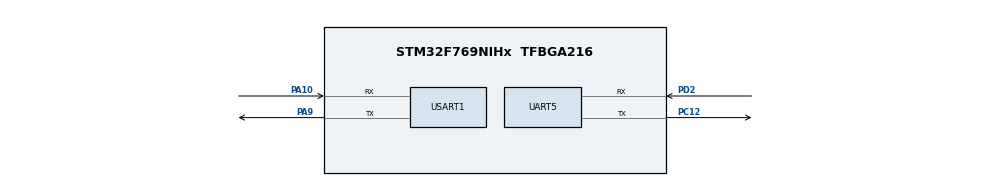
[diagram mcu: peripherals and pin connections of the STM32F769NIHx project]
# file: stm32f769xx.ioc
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CORTEX_M7.CPU_DCache=Enabled
CORTEX_M7.CPU_ICache=Enabled
CORTEX_M7.PREFETCH_ENABLE=1
Dma.Request0=USART1_TX
Dma.Request1=USART1_RX
Dma.Request2=UART5_TX
Dma.Request3=UART5_RX
Dma.UART5_RX.3.Direction=DMA_PERIPH_TO_MEMORY
Dma.UART5_RX.3.FIFOMode=DMA_FIFOMODE_DISABLE
Dma.UART5_RX.3.Instance=DMA1_Stream0
Dma.UART5_RX.3.MemDataAlignment=DMA_MDATAALIGN_BYTE
Dma.UART5_RX.3.MemInc=DMA_MINC_ENABLE
Dma.UART5_RX.3.Mode=DMA_CIRCULAR
Dma.UART5_RX.3.PeriphDataAlignment=DMA_PDATAALIGN_BYTE
Dma.UART5_RX.3.PeriphInc=DMA_PINC_DISABLE
Dma.UART5_RX.3.Priority=DMA_PRIORITY_VERY_HIGH
Dma.UART5_TX.2.Direction=DMA_MEMORY_TO_PERIPH
Dma.UART5_TX.2.FIFOMode=DMA_FIFOMODE_DISABLE
Dma.UART5_TX.2.Instance=DMA1_Stream7
Dma.UART5_TX.2.MemDataAlignment=DMA_MDATAALIGN_BYTE
Dma.UART5_TX.2.MemInc=DMA_MINC_ENABLE
Dma.UART5_TX.2.Mode=DMA_NORMAL
Dma.UART5_TX.2.PeriphDataAlignment=DMA_PDATAALIGN_BYTE
Dma.UART5_TX.2.PeriphInc=DMA_PINC_DISABLE
Dma.UART5_TX.2.Priority=DMA_PRIORITY_VERY_HIGH
Dma.USART1_RX.1.Direction=DMA_PERIPH_TO_MEMORY
Dma.USART1_RX.1.FIFOMode=DMA_FIFOMODE_DISABLE
Dma.USART1_RX.1.Instance=DMA2_Stream2
Dma.USART1_RX.1.MemDataAlignment=DMA_MDATAALIGN_BYTE
Dma.USART1_RX.1.MemInc=DMA_MINC_ENABLE
Dma.USART1_RX.1.Mode=DMA_CIRCULAR
Dma.USART1_RX.1.PeriphDataAlignment=DMA_PDATAALIGN_BYTE
Dma.USART1_RX.1.PeriphInc=DMA_PINC_DISABLE
Dma.USART1_RX.1.Priority=DMA_PRIORITY_VERY_HIGH
Dma.USART1_TX.0.Direction=DMA_MEMORY_TO_PERIPH
Dma.USART1_TX.0.FIFOMode=DMA_FIFOMODE_DISABLE
Dma.USART1_TX.0.Instance=DMA2_Stream7
Dma.USART1_TX.0.MemDataAlignment=DMA_MDATAALIGN_BYTE
Dma.USART1_TX.0.MemInc=DMA_MINC_ENABLE
Dma.USART1_TX.0.Mode=DMA_NORMAL
Dma.USART1_TX.0.PeriphDataAlignment=DMA_PDATAALIGN_BYTE
Dma.USART1_TX.0.PeriphInc=DMA_PINC_DISABLE
Dma.USART1_TX.0.Priority=DMA_PRIORITY_VERY_HIGH
FREERTOS.Tasks01=KrnlTaskName,24,1024,KrnlTask,Default,NULL,Dynamic,NULL,NULL;UserTaskName,24,1024,UserTask,Default,NULL,Dynamic,NULL,NULL;UartTaskName,24,256,UartTask,Default,NULL,Dynamic,NULL,NULL
FREERTOS.configMAX_TASK_NAME_LEN=32
FREERTOS.configMINIMAL_STACK_SIZE=256
FREERTOS.configTOTAL_HEAP_SIZE=102400
Mcu.Family=STM32F7
Mcu.Name=STM32F769NIHx
Mcu.Package=TFBGA216
NVIC.DMA1_Stream0_IRQn=true\:5\:0\:false\:false\:true\:true\:false\:true
NVIC.DMA1_Stream7_IRQn=true\:5\:0\:false\:false\:true\:true\:false\:true
NVIC.DMA2_Stream2_IRQn=true\:5\:0\:false\:false\:true\:true\:false\:true
NVIC.DMA2_Stream7_IRQn=true\:5\:0\:false\:false\:true\:true\:false\:true
NVIC.HASH_RNG_IRQn=true\:5\:0\:false\:false\:true\:true\:true\:true
NVIC.PriorityGroup=NVIC_PRIORITYGROUP_4
NVIC.TIM2_IRQn=true\:0\:0\:false\:false\:true\:false\:false\:true
NVIC.TimeBase=TIM2_IRQn
NVIC.TimeBaseIP=TIM2
NVIC.UART5_IRQn=true\:5\:0\:false\:false\:true\:true\:true\:true
NVIC.USART1_IRQn=true\:5\:0\:false\:false\:true\:true\:true\:true
PA10.Mode=Asynchronous
PA10.Signal=USART1_RX
PA9.Mode=Asynchronous
PA9.Signal=USART1_TX
PC12.Mode=Asynchronous
PC12.Signal=UART5_TX
PD2.Mode=Asynchronous
PD2.Signal=UART5_RX
ProjectManager.HeapSize=0x200
ProjectManager.StackSize=0x400
ProjectManager.TargetToolchain=SW4STM32
RCC.HSE_VALUE=25000000
RCC.HSI_VALUE=16000000
RCC.LSE_VALUE=32768
RCC.PLLM=8
RCC.PLLN=96
RCC.PLLQ=4
RCC.USBFreq_Value=48000000
RCC.VCOOutputFreq_Value=192000000
USART1.VirtualMode-Asynchronous=VM_ASYNC
VP_FREERTOS_VS_CMSIS_V2.Mode=CMSIS_V2
VP_RNG_VS_RNG.Mode=RNG_Activate
VP_SYS_VS_tim2.Mode=TIM2
board=custom

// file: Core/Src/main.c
/* USER CODE BEGIN Header */
/**
  ******************************************************************************
  * @file           : main.c
  * @brief          : Main program body
  ******************************************************************************
  * @attention
  *
  * <h2><center>&copy; Copyright (c) 2021 STMicroelectronics.
  * All rights reserved.</center></h2>
  *
  * This software component is licensed by ST under Ultimate Liberty license
  * SLA0044, the "License"; You may not use this file except in compliance with
  * the License. You may obtain a copy of the License at:
  *                             www.st.com/SLA0044
  *
  ******************************************************************************
  */
/* USER CODE END Header */
#include "main.h"
#include "cmsis_os.h"
#include "dma.h"
#include "rng.h"
#include "usart.h"
#include "gpio.h"

/* USER CODE BEGIN Includes */

#include "uart_assert.h"
#include "uart_printf.h"

/* USER CODE END Includes */

/* USER CODE BEGIN PM */

#define UART_BUFFER_SIZE 4096

/* USER CODE END PM */

/* USER CODE BEGIN PV */

static uint8_t Uart5_Buffer[UART_BUFFER_SIZE];

UART_RingBuf Uart5_RingBuf = {
  .huart = &huart5,
  .buffer = Uart5_Buffer,
  .size = UART_BUFFER_SIZE,
  .end = 0,
  .token = 0
};

/* USER CODE END PV */

void SystemClock_Config(void);
void MX_FREERTOS_Init(void);
/* USER CODE BEGIN PFP */

static void UART_RingBufRecv(UART_RingBuf *uart_ringbuf)
{
  assert(HAL_UART_Receive_IT(uart_ringbuf->huart, &uart_ringbuf->token, sizeof(uart_ringbuf->token)) == HAL_OK);
}

/* USER CODE END PFP */

int main(void)
{

  /* Enable I-Cache---------------------------------------------------------*/
  SCB_EnableICache();

  /* Enable D-Cache---------------------------------------------------------*/
  SCB_EnableDCache();

  /* MCU Configuration--------------------------------------------------------*/

  /* Reset of all peripherals, Initializes the Flash interface and the Systick. */
  HAL_Init();

  /* Configure the system clock */
  SystemClock_Config();

  /* Initialize all configured peripherals */
  MX_GPIO_Init();
  MX_DMA_Init();
  MX_RNG_Init();
  MX_USART1_UART_Init();
  MX_UART5_Init();
  /* USER CODE BEGIN 2 */

  UART_RingBufRecv(&Uart5_RingBuf);

  /* USER CODE END 2 */

  /* Init scheduler */
  osKernelInitialize();  /* Call init function for freertos objects (in freertos.c) */
  MX_FREERTOS_Init();
  /* Start scheduler */
  osKernelStart();

  /* We should never get here as control is now taken by the scheduler */
  /* Infinite loop */
  while (1)
  {

  }
}

void SystemClock_Config(void)
{
  RCC_OscInitTypeDef RCC_OscInitStruct = {0};
  RCC_ClkInitTypeDef RCC_ClkInitStruct = {0};
  RCC_PeriphCLKInitTypeDef PeriphClkInitStruct = {0};

  /** Configure the main internal regulator output voltage
  */
  __HAL_RCC_PWR_CLK_ENABLE();
  __HAL_PWR_VOLTAGESCALING_CONFIG(PWR_REGULATOR_VOLTAGE_SCALE3);
  /** Initializes the RCC Oscillators according to the specified parameters
  * in the RCC_OscInitTypeDef structure.
  */
  RCC_OscInitStruct.OscillatorType = RCC_OSCILLATORTYPE_HSI;
  RCC_OscInitStruct.HSIState = RCC_HSI_ON;
  RCC_OscInitStruct.HSICalibrationValue = RCC_HSICALIBRATION_DEFAULT;
  RCC_OscInitStruct.PLL.PLLState = RCC_PLL_ON;
  RCC_OscInitStruct.PLL.PLLSource = RCC_PLLSOURCE_HSI;
  RCC_OscInitStruct.PLL.PLLM = 8;
  RCC_OscInitStruct.PLL.PLLN = 96;
  RCC_OscInitStruct.PLL.PLLP = RCC_PLLP_DIV2;
  RCC_OscInitStruct.PLL.PLLQ = 4;
  if (HAL_RCC_OscConfig(&RCC_OscInitStruct) != HAL_OK)
  {
    Error_Handler();
  }
  /** Initializes the CPU, AHB and APB buses clocks
  */
  RCC_ClkInitStruct.ClockType = RCC_CLOCKTYPE_HCLK|RCC_CLOCKTYPE_SYSCLK
                              |RCC_CLOCKTYPE_PCLK1|RCC_CLOCKTYPE_PCLK2;
  RCC_ClkInitStruct.SYSCLKSource = RCC_SYSCLKSOURCE_HSI;
  RCC_ClkInitStruct.AHBCLKDivider = RCC_SYSCLK_DIV1;
  RCC_ClkInitStruct.APB1CLKDivider = RCC_HCLK_DIV1;
  RCC_ClkInitStruct.APB2CLKDivider = RCC_HCLK_DIV1;

  if (HAL_RCC_ClockConfig(&RCC_ClkInitStruct, FLASH_LATENCY_0) != HAL_OK)
  {
    Error_Handler();
  }
  PeriphClkInitStruct.PeriphClockSelection = RCC_PERIPHCLK_USART1|RCC_PERIPHCLK_UART5
                              |RCC_PERIPHCLK_CLK48;
  PeriphClkInitStruct.Usart1ClockSelection = RCC_USART1CLKSOURCE_PCLK2;
  PeriphClkInitStruct.Uart5ClockSelection = RCC_UART5CLKSOURCE_PCLK1;
  PeriphClkInitStruct.Clk48ClockSelection = RCC_CLK48SOURCE_PLL;
  if (HAL_RCCEx_PeriphCLKConfig(&PeriphClkInitStruct) != HAL_OK)
  {
    Error_Handler();
  }
}

/* USER CODE BEGIN 4 */

void SystemHalt(void)
{
  __disable_irq();
  while (1)
  {
  }
}

uint32_t Random(void)
{
  uint32_t random;
  assert(HAL_RNG_GenerateRandomNumber(&hrng, &random) == HAL_OK);
  return random;
}

void HAL_UART_RxCpltCallback(UART_HandleTypeDef *huart)
{
  UART_RingBuf *uart_ringbuf = NULL;
  if (huart->Instance == UART5)
  {
    uart_ringbuf = &Uart5_RingBuf;
  }
  uart_ringbuf->buffer[uart_ringbuf->end++] = uart_ringbuf->token;
  uart_ringbuf->end %= uart_ringbuf->size;
  UART_RingBufRecv(uart_ringbuf);
}

void HAL_UART_ErrorCallback(UART_HandleTypeDef *huart)
{
}

/* USER CODE END 4 */

 /**
  * @brief  Period elapsed callback in non blocking mode
  * @note   This function is called  when TIM2 interrupt took place, inside
  * HAL_TIM_IRQHandler(). It makes a direct call to HAL_IncTick() to increment
  * a global variable "uwTick" used as application time base.
  * @param  htim : TIM handle
  * @retval None
  */
void HAL_TIM_PeriodElapsedCallback(TIM_HandleTypeDef *htim)
{
  if (htim->Instance == TIM2) {
    HAL_IncTick();
  }
}

void Error_Handler(void)
{
  __disable_irq();
  while (1)
  {
  }
}

/************************ (C) COPYRIGHT STMicroelectronics *****END OF FILE****/

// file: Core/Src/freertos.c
/* USER CODE BEGIN Header */
/**
  ******************************************************************************
  * File Name          : freertos.c
  * Description        : Code for freertos applications
  ******************************************************************************
  * @attention
  *
  * <h2><center>&copy; Copyright (c) 2021 STMicroelectronics.
  * All rights reserved.</center></h2>
  *
  * This software component is licensed by ST under Ultimate Liberty license
  * SLA0044, the "License"; You may not use this file except in compliance with
  * the License. You may obtain a copy of the License at:
  *                             www.st.com/SLA0044
  *
  ******************************************************************************
  */
/* USER CODE END Header */

#include "FreeRTOS.h"
#include "task.h"
#include "main.h"
#include "cmsis_os.h"

/* USER CODE BEGIN Includes */

#include "uart_printf.h"
#include "uart_assert.h"
#include "lwesp/lwesp.h"

/* USER CODE END Includes */

/* USER CODE BEGIN Variables */

static const osSemaphoreAttr_t InitSemaphoreAttributes = {
  .name = "InitSemaphoreName"
};

static osSemaphoreId_t InitSemaphore;

extern UART_RingBuf Uart5_RingBuf;

/* USER CODE END Variables */
/* Definitions for KrnlTaskName */
osThreadId_t KrnlTaskNameHandle;
const osThreadAttr_t KrnlTaskName_attributes = {
  .name = "KrnlTaskName",
  .stack_size = 1024 * 4,
  .priority = (osPriority_t) osPriorityNormal,
};
/* Definitions for UserTaskName */
osThreadId_t UserTaskNameHandle;
const osThreadAttr_t UserTaskName_attributes = {
  .name = "UserTaskName",
  .stack_size = 1024 * 4,
  .priority = (osPriority_t) osPriorityNormal,
};
/* Definitions for UartTaskName */
osThreadId_t UartTaskNameHandle;
const osThreadAttr_t UartTaskName_attributes = {
  .name = "UartTaskName",
  .stack_size = 256 * 4,
  .priority = (osPriority_t) osPriorityNormal,
};

void KrnlTask(void *argument);
void UserTask(void *argument);
void UartTask(void *argument);

void MX_FREERTOS_Init(void); /* (MISRA C 2004 rule 8.1) */

void MX_FREERTOS_Init(void) {

  /* USER CODE BEGIN RTOS_MUTEX */
  UartMutexInit();
  /* add mutexes, ... */
  /* USER CODE END RTOS_MUTEX */

  /* USER CODE BEGIN RTOS_SEMAPHORES */
  InitSemaphore = osSemaphoreNew(1, 0, &InitSemaphoreAttributes);
  /* add semaphores, ... */
  /* USER CODE END RTOS_SEMAPHORES */

  /* Create the thread(s) */
  /* creation of KrnlTaskName */
  KrnlTaskNameHandle = osThreadNew(KrnlTask, NULL, &KrnlTaskName_attributes);

  /* creation of UserTaskName */
  UserTaskNameHandle = osThreadNew(UserTask, NULL, &UserTaskName_attributes);

  /* creation of UartTaskName */
  UartTaskNameHandle = osThreadNew(UartTask, NULL, &UartTaskName_attributes);

}

void KrnlTask(void *argument)
{
  /* USER CODE BEGIN KrnlTask */
  assert(lwesp_init(0, 1) == lwespOK);

  osSemaphoreRelease(InitSemaphore);
  /* Infinite loop */
  for (;;)
  {
    osDelay(1);
  }
  /* USER CODE END KrnlTask */
}

void UserTask(void *argument)
{
  /* USER CODE BEGIN UserTask */
  osSemaphoreAcquire(InitSemaphore, osWaitForever);

  /* Infinite loop */
  for (;;)
  {
    osDelay(1);
  }
  /* USER CODE END UserTask */
}

void UartTask(void *argument)
{
  /* USER CODE BEGIN UartTask */
  UART_RingBuf *uart_ringbuf = &Uart5_RingBuf;
  size_t end = uart_ringbuf->end, begin = end;
  /* Infinite loop */
  for (;;)
  {
    if (uart_ringbuf->end > end)
    {
      end = uart_ringbuf->end;
      assert(lwesp_input_process(uart_ringbuf->buffer + begin, end - begin) == lwespOK);
#if LWESP_CFG_AT_ECHO
      UartPrintRaw(uart_ringbuf->buffer + begin, end - begin);
#endif
      begin = end;
    }
    else if (uart_ringbuf->end < end)
    {
      end = uart_ringbuf->end;
      assert(lwesp_input_process(uart_ringbuf->buffer + begin, uart_ringbuf->size - begin) == lwespOK);
#if LWESP_CFG_AT_ECHO
      UartPrintRaw(uart_ringbuf->buffer + begin, uart_ringbuf->size - begin);
#endif
      assert(lwesp_input_process(uart_ringbuf->buffer, end) == lwespOK);
#if LWESP_CFG_AT_ECHO
      UartPrintRaw(uart_ringbuf->buffer, end);
#endif
      begin = end;
    }
    osDelay(1);
  }
  /* USER CODE END UartTask */
}

/************************ (C) COPYRIGHT STMicroelectronics *****END OF FILE****/
